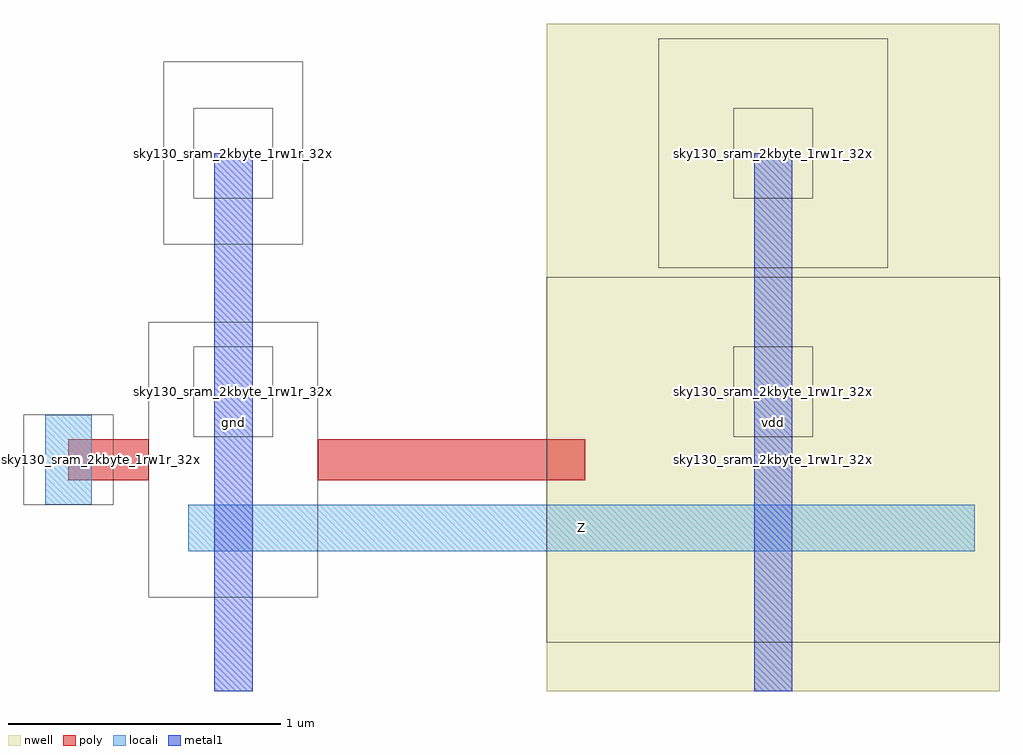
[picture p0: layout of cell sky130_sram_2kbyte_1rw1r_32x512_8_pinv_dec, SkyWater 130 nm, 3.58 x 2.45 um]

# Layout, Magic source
magic
tech sky130A
magscale 1 2
<< nwell >>
rect 428 0 760 490
<< poly >>
rect 77 155 136 185
rect 260 155 456 185
<< locali >>
rect 60 137 94 203
rect 165 103 742 137
<< metal1 >>
rect 184 0 212 395
rect 580 0 608 395
use sky130_sram_2kbyte_1rw1r_32x512_8_contact_14  sky130_sram_2kbyte_1rw1r_32x512_8_contact_14_0
transform 1 0 565 0 1 187
box 0 0 58 66
use sky130_sram_2kbyte_1rw1r_32x512_8_contact_14  sky130_sram_2kbyte_1rw1r_32x512_8_contact_14_1
transform 1 0 169 0 1 187
box 0 0 58 66
use sky130_sram_2kbyte_1rw1r_32x512_8_contact_16  sky130_sram_2kbyte_1rw1r_32x512_8_contact_16_0
transform 1 0 44 0 1 137
box 0 0 66 66
use sky130_sram_2kbyte_1rw1r_32x512_8_contact_14  sky130_sram_2kbyte_1rw1r_32x512_8_contact_14_2
transform 1 0 169 0 1 362
box 0 0 58 66
use sky130_sram_2kbyte_1rw1r_32x512_8_contact_15  sky130_sram_2kbyte_1rw1r_32x512_8_contact_15_0
transform 1 0 173 0 1 354
box -26 -26 76 108
use sky130_sram_2kbyte_1rw1r_32x512_8_contact_14  sky130_sram_2kbyte_1rw1r_32x512_8_contact_14_3
transform 1 0 565 0 1 362
box 0 0 58 66
use sky130_sram_2kbyte_1rw1r_32x512_8_contact_13  sky130_sram_2kbyte_1rw1r_32x512_8_contact_13_0
transform 1 0 569 0 1 354
box -59 -43 109 125
use sky130_sram_2kbyte_1rw1r_32x512_8_nmos_m1_w0_360_sli_dli_da_p  sky130_sram_2kbyte_1rw1r_32x512_8_nmos_m1_w0_360_sli_dli_da_p_0
transform 0 1 162 -1 0 245
box -26 -26 176 98
use sky130_sram_2kbyte_1rw1r_32x512_8_pmos_m1_w1_120_sli_dli_da_p  sky130_sram_2kbyte_1rw1r_32x512_8_pmos_m1_w1_120_sli_dli_da_p_0
transform 0 1 482 -1 0 245
box -59 -54 209 278
<< labels >>
rlabel metal1 s 184 0 212 395 4 gnd
rlabel metal1 s 580 0 608 395 4 vdd
rlabel locali s 77 170 77 170 4 A
rlabel locali s 453 120 453 120 4 Z
<< properties >>
string FIXED_BBOX 0 0 742 395
<< end >>
